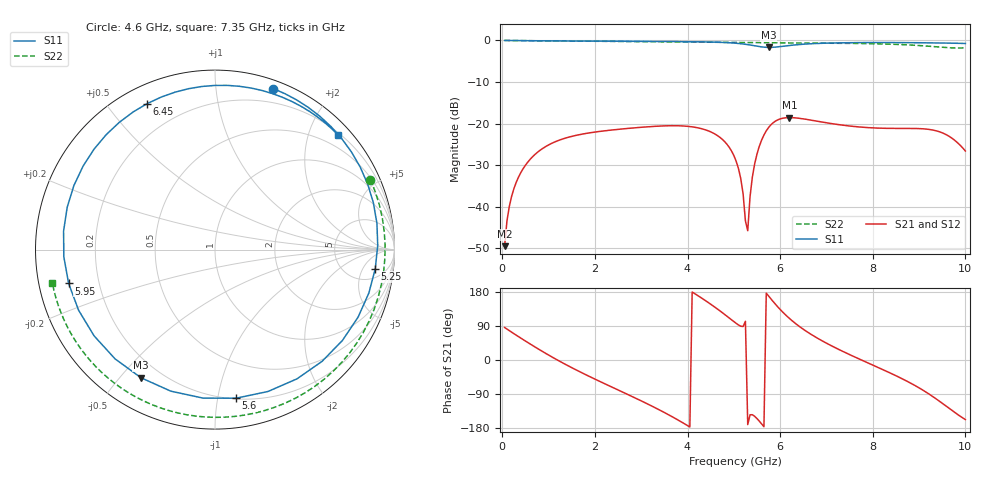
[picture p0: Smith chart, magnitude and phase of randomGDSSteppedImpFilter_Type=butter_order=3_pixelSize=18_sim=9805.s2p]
! freq	dB(S11)	phase(S11)	dB(S12)	phase(S12)
!  dB(S21)	phase(S21)	dB(S22)	phase(S22)
!S-par simulation data
#  GHz  S  DB  R 50
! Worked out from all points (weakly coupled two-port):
!   200 points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, 50 MHz to 10 GHz, reference 50 ohm
!   highest |S21| = -18.55 dB at 6.2 GHz (marker M1); lowest = -49.5 dB at 50 MHz (marker M2)
!   lowest |S11| = -1.7 dB at 5.75 GHz (marker M3), VSWR 10.40, Z = 6.39 - j28.5 ohm
!   |S11| at or under -10 dB: nowhere
!   |S22| runs from -1.8 to 0.0 dB; largest |S21 - S12| = 0
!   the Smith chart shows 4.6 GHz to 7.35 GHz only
!   S11 on the Smith chart (normalised r, x): 4.6 GHz: 0.07, +1.42; 5.25 GHz: 8, -9; 5.6 GHz: 0.21, -1.13; 5.95 GHz: 0.09, -0.11; 6.45 GHz: 0.08, +0.64; 7.35 GHz: 0.24, +2.53
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0.05  -0.00 -4.1  -49.48 85.8  -49.48 85.8  -0.00 -4.1
0.2  -0.02 -16.2  -37.55 73.5  -37.55 73.5  -0.02 -16.1
0.5  -0.06 -40.0  -30.01 50.0  -30.01 50.0  -0.06 -39.6
1.1  -0.11 -84.0  -24.57 6.1  -24.57 6.1  -0.11 -84.1
1.75  -0.15 -125.3  -22.48 -35.7  -22.48 -35.7  -0.16 -127.6
2.6  -0.19 -172.0  -21.27 -84.7  -21.27 -84.7  -0.22 178.9
3.4  -0.24 146.3  -20.59 -132.2  -20.59 -132.2  -0.30 124.8
4  -0.29 112.4  -20.65 -173.1  -20.65 -173.1  -0.38 77.5
4.6  -0.41 70.2  -22.56 138.6  -22.56 138.6  -0.45 24.3
5.05  -0.67 23.3  -29.04 96.8  -29.04 96.8  -0.47 -16.2
5.25  -0.92 -6.9  -43.40 102.1  -43.40 102.1  -0.48 -33.4
5.6  -1.55 -81.9  -23.96 -168.6  -23.96 -168.6  -0.52 -61.6
5.75  -1.68 -120.0  -20.94 168.8  -20.94 168.8  -0.55 -72.7
5.95  -1.54 -167.0  -19.09 140.0  -19.09 140.0  -0.58 -86.7
6.2  -1.21 147.7  -18.55 109.7  -18.55 109.7  -0.60 -103.0
6.45  -0.95 114.9  -18.78 85.4  -18.78 85.4  -0.61 -118.2
6.7  -0.77 90.0  -19.23 65.2  -19.23 65.2  -0.62 -132.7
7.35  -0.56 42.9  -20.38 22.9  -20.38 22.9  -0.68 -168.5
8.35  -0.51 -9.6  -21.15 -32.8  -21.15 -32.8  -0.88 131.4
8.95  -0.55 -35.7  -21.18 -70.0  -21.18 -70.0  -1.18 79.5
9.45  -0.61 -55.9  -22.00 -109.7  -22.00 -109.7  -1.62 12.8
10  -0.72 -77.6  -26.59 -157.2  -26.59 -157.2  -1.79 -79.9
